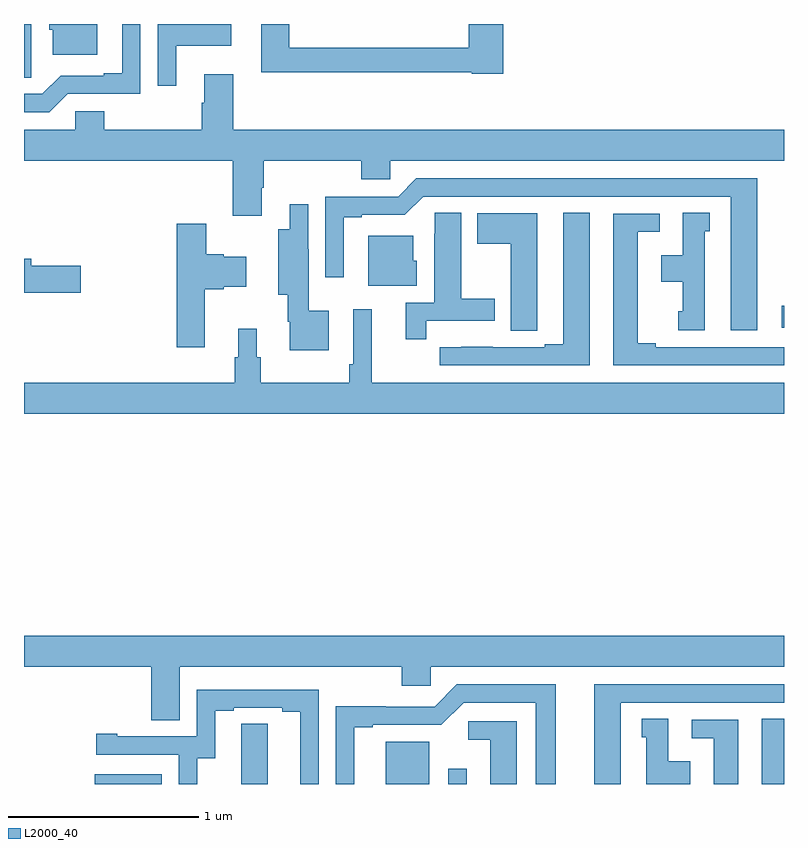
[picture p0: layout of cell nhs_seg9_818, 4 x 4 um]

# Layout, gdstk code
import gdstk
lib = gdstk.Library(unit=1e-6, precision=1e-09)
def R(c, l, rs):  # rectangles x0, y0, x1, y1
    for r in rs: c.add(gdstk.rectangle(r[:2], r[2:], *l))
def P(c, l, *ps):  # polygons
    for p in ps: c.add(gdstk.Polygon(p, *l))
L2000_40 = (2000, 40)

nhs_seg9_818 = lib.new_cell('nhs_seg9_818')
R(nhs_seg9_818, L2000_40, [(155.372,1166.5,155.725,1166.551), (156.905,1166.5,157.132,1166.722), (157.233,1166.5,157.329,1166.581), (158.882,1166.5,159,1166.843), (158.988,1168.902,159,1169.018)])
P(nhs_seg9_818, L2000_40, [(155.229,1170.132),(155.613,1170.132),(155.613,1170.5),(155.516,1170.5),(155.516,1170.241),(155.42,1170.241),(155.42,1170.228),(155.193,1170.228),(155.097,1170.132),(155,1170.132),(155,1170.036),(155.133,1170.036)],
  [(157.523,1170.5),(157.34,1170.5),(157.34,1170.374),(156.395,1170.374),(156.395,1170.5),(156.248,1170.5),(156.248,1170.246),(157.356,1170.246),(157.356,1170.238),(157.523,1170.238)],
  [(155.8,1170.386),(156.091,1170.386),(156.091,1170.5),(155.703,1170.5),(155.703,1170.174),(155.8,1170.174)],
  [(155.386,1170.5),(155.132,1170.5),(155.132,1170.471),(155.15,1170.471),(155.15,1170.338),(155.386,1170.338)],
  [(155.037,1170.328),(155.038,1170.328),(155.038,1170.5),(155,1170.5),(155,1170.217),(155.037,1170.217)],
  [(156.25,1169.638),(156.263,1169.638),(156.263,1169.78),(156.776,1169.78),(156.776,1169.682),(156.927,1169.682),(156.927,1169.78),(159,1169.78),(159,1169.944),(156.101,1169.944),(156.101,1170.235),(155.948,1170.235),(155.948,1170.086),(155.936,1170.086),(155.936,1169.944),(155.423,1169.944),(155.423,1170.042),(155.271,1170.042),(155.271,1169.944),(155,1169.944),(155,1169.78),(156.098,1169.78),(156.098,1169.49),(156.25,1169.49)],
  [(158.86,1169.688),(157.065,1169.688),(156.969,1169.592),(156.585,1169.592),(156.585,1169.166),(156.682,1169.166),(156.682,1169.484),(156.778,1169.484),(156.778,1169.496),(157.005,1169.496),(157.101,1169.592),(158.72,1169.592),(158.72,1168.887),(158.86,1168.887)],
  [(156.604,1168.99),(156.498,1168.99),(156.498,1169.315),(156.496,1169.315),(156.496,1169.551),(156.398,1169.551),(156.398,1169.419),(156.338,1169.419),(156.338,1169.075),(156.387,1169.075),(156.387,1168.934),(156.399,1168.934),(156.399,1168.784),(156.604,1168.784)],
  [(157.118,1168.938),(157.477,1168.938),(157.477,1169.055),(157.3,1169.055),(157.3,1169.507),(157.161,1169.507),(157.161,1169.396),(157.16,1169.396),(157.16,1169.034),(157.01,1169.034),(157.01,1168.842),(157.118,1168.842)],
  [(158.584,1169.409),(158.608,1169.409),(158.608,1169.507),(158.468,1169.507),(158.468,1169.284),(158.354,1169.284),(158.354,1169.144),(158.468,1169.144),(158.468,1168.989),(158.444,1168.989),(158.444,1168.887),(158.584,1168.887)],
  [(157.978,1169.507),(157.838,1169.507),(157.838,1168.815),(157.742,1168.815),(157.742,1168.8),(157.466,1168.8),(157.466,1168.801),(157.3,1168.801),(157.3,1168.8),(157.188,1168.8),(157.188,1168.704),(157.978,1168.704)],
  [(157.701,1168.993),(157.702,1168.993),(157.702,1169.503),(157.385,1169.503),(157.385,1169.344),(157.562,1169.344),(157.562,1168.885),(157.701,1168.885)],
  [(159,1168.8),(158.326,1168.8),(158.326,1168.82),(158.23,1168.82),(158.23,1169.406),(158.347,1169.406),(158.347,1169.502),(158.102,1169.502),(158.102,1168.704),(159,1168.704)],
  [(155.95,1169.105),(156.051,1169.105),(156.051,1169.117),(156.169,1169.117),(156.169,1169.275),(156.051,1169.275),(156.051,1169.288),(155.958,1169.288),(155.958,1169.449),(155.804,1169.449),(155.804,1168.8),(155.95,1168.8)],
  [(157.066,1169.253),(157.048,1169.253),(157.048,1169.386),(156.812,1169.386),(156.812,1169.123),(157.066,1169.123)],
  [(155.299,1169.228),(155.038,1169.228),(155.038,1169.264),(155,1169.264),(155,1169.086),(155.299,1169.086)],
  [(159,1168.612),(156.83,1168.612),(156.83,1168.999),(156.732,1168.999),(156.732,1168.708),(156.712,1168.708),(156.712,1168.612),(156.245,1168.612),(156.245,1168.746),(156.226,1168.746),(156.226,1168.897),(156.128,1168.897),(156.128,1168.746),(156.109,1168.746),(156.109,1168.612),(155,1168.612),(155,1168.448),(159,1168.448)],
  [(155.821,1167.116),(156.989,1167.116),(156.989,1167.018),(157.14,1167.018),(157.14,1167.116),(159,1167.116),(159,1167.28),(155,1167.28),(155,1167.116),(155.669,1167.116),(155.669,1166.836),(155.821,1166.836)],
  [(156.739,1166.799),(156.835,1166.799),(156.835,1166.811),(157.197,1166.811),(157.314,1166.928),(157.694,1166.928),(157.694,1166.5),(157.798,1166.5),(157.798,1167.024),(157.278,1167.024),(157.161,1166.907),(156.905,1166.907),(156.905,1166.909),(156.642,1166.909),(156.642,1166.5),(156.739,1166.5)],
  [(158.14,1166.928),(159,1166.928),(159,1167.024),(158,1167.024),(158,1166.5),(158.14,1166.5)],
  [(155.913,1166.635),(156.007,1166.635),(156.007,1166.886),(156.103,1166.886),(156.103,1166.901),(156.359,1166.901),(156.359,1166.881),(156.455,1166.881),(156.455,1166.5),(156.552,1166.5),(156.552,1166.997),(155.91,1166.997),(155.91,1166.751),(155.491,1166.751),(155.491,1166.764),(155.379,1166.764),(155.379,1166.655),(155.814,1166.655),(155.814,1166.5),(155.913,1166.5)],
  [(158.506,1166.62),(158.392,1166.62),(158.392,1166.843),(158.252,1166.843),(158.252,1166.745),(158.276,1166.745),(158.276,1166.5),(158.506,1166.5)],
  [(158.758,1166.838),(158.514,1166.838),(158.514,1166.742),(158.63,1166.742),(158.63,1166.5),(158.758,1166.5)],
  [(157.594,1166.829),(157.338,1166.829),(157.338,1166.732),(157.454,1166.732),(157.454,1166.5),(157.594,1166.5)],
  [(156.283,1166.816),(156.144,1166.816),(156.144,1166.708),(156.143,1166.708),(156.143,1166.5),(156.283,1166.5)])

lib.write_gds('nhs_seg9_818.gds')
